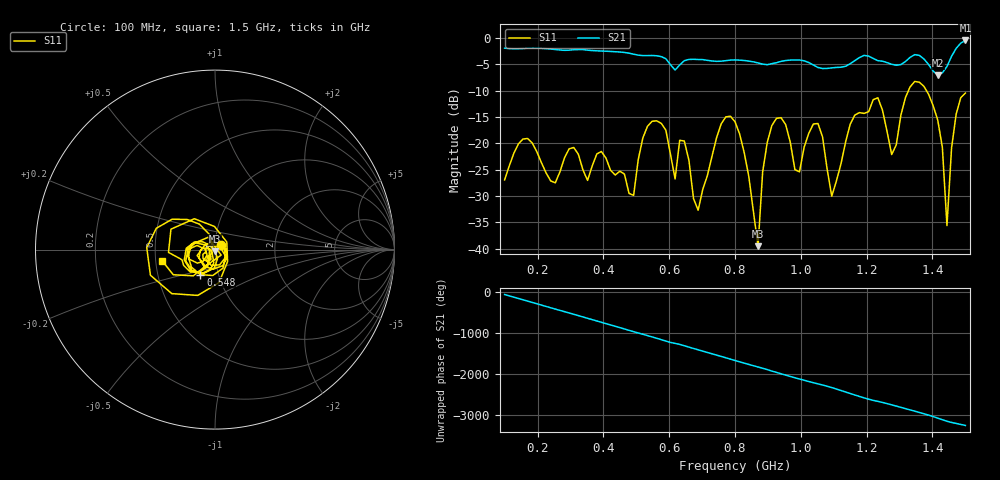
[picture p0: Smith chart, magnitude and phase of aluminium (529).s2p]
! NanoVNA-App
! Date: 2025-09-25 14:59:24
! Start: 100MHz Stop: 1,5GHz Points: 101
! S-Parameter data: F S11 S21 S12 S22
# Hz S RI R 50
!  Frequency  S11_Real  S11_Imag  S21_Real  S21_Imag  S12_Real  S12_Imag  S22_Real  S22_Imag
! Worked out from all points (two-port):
!   101 points, 100 MHz to 1.5 GHz, reference 50 ohm
!   highest |S21| = -0.45 dB at 1.5 GHz (marker M1); lowest = -7.1 dB at 1.416 GHz (marker M2)
!   |S21| within 3 dB of the highest: start of sweep to 569.8 MHz; 1.458 GHz to end of sweep (the widest 2 of 4)
!   lowest |S11| = -39.6 dB at 870 MHz (marker M3), VSWR 1.02, Z = 50.2 - j1.04 ohm
!   |S11| at or under -10 dB: start of sweep to 1.327 GHz; 1.382 GHz to end of sweep
!   S12 and S22 are empty: the file has one direction only
!   S11 on the Smith chart (normalised r, x): 100 MHz: 1.07, +0.06; 548 MHz: 0.82, -0.24; 1.5 GHz: 0.54, -0.08
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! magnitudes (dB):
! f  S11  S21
! 100 MHz  -27.0  -1.9
! 156 MHz  -19.2  -2.0
! 338 MHz  -25.1  -2.2
! 492 MHz  -29.9  -3.1
! 548 MHz  -15.8  -3.3
! 576 MHz  -16.2  -3.5
! 618 MHz  -26.8  -6.1
! 646 MHz  -19.6  -4.3
! 688 MHz  -32.7  -4.1
! 800 MHz  -15.9  -4.2
! 870 MHz  -39.6  -4.7
! 912 MHz  -16.6  -4.9
! 996 MHz  -25.4  -4.2
! 1.038 GHz  -16.3  -5.1
! 1.094 GHz  -30.1  -5.7
! 1.22 GHz  -11.7  -3.9
! 1.276 GHz  -22.1  -5.0
! 1.346 GHz  -8.2  -3.1
! 1.416 GHz  -15.6  -7.1
! 1.444 GHz  -35.6  -5.4
! 1.472 GHz  -14.4  -2.0
! 1.5 GHz  -10.4  -0.5
